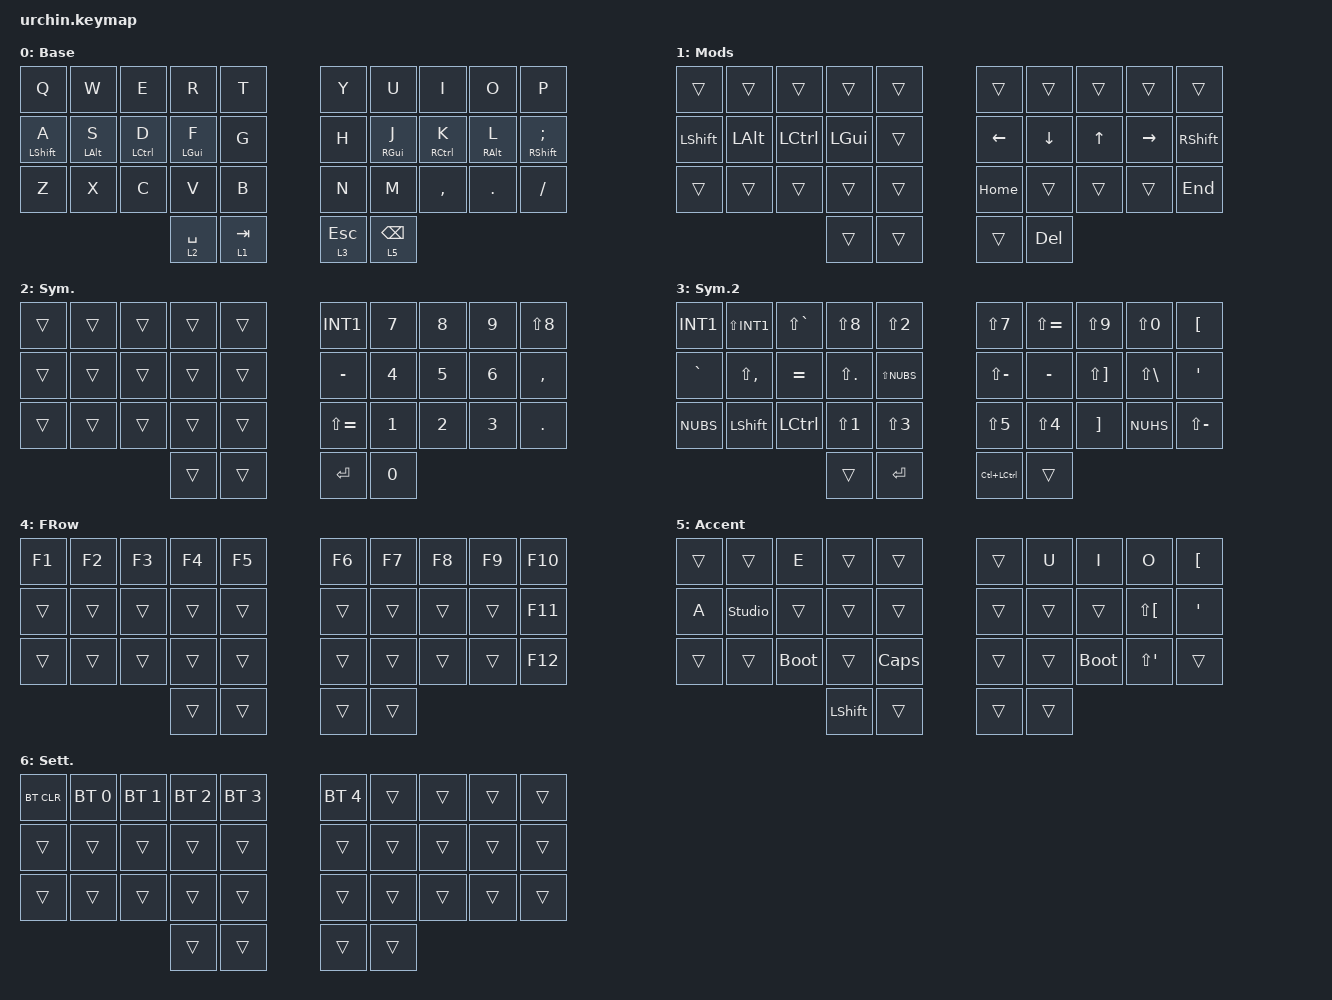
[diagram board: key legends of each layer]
#include <behaviors.dtsi>
#include <dt-bindings/zmk/keys.h>
#include <dt-bindings/zmk/bt.h>
#include <dt-bindings/zmk/outputs.h>

&mt {
    tapping-term-ms = <200>;
    require-prior-idle-ms = <60>;
    flavor = "balanced";
};

/ {
    combos {
        compatible = "zmk,combos";
        combo_enter {
            timeout-ms = <50>;
            key-positions = <27 28>;
            bindings = <&kp RET>;
            layers = <0>;
        };
    };

    keymap {
        compatible = "zmk,keymap";

        base_layer {
            display-name = "Base";
            bindings = <
&kp Q         &kp W         &kp E         &kp R         &kp T             &kp Y         &kp U         &kp I         &kp O         &kp P
&mt LSHFT A   &mt LALT S    &mt LCTRL D   &mt LGUI F    &kp G             &kp H         &mt RGUI J    &mt RCTRL K   &mt RALT L    &mt RSHFT SEMI
&kp Z         &kp X         &kp C         &kp V         &kp B             &kp N         &kp M         &kp COMMA     &kp DOT       &kp FSLH
                            &lt 2 SPACE   &lt 1 TAB         &lt 3 ESC     &lt 5 BSPC
            >;
        };

        mods_layer {
            display-name = "Mods";
            bindings = <
&trans        &trans        &trans        &trans        &trans            &trans        &trans        &trans        &trans        &trans
&kp LSHFT     &kp LALT      &kp LCTRL     &kp LGUI      &trans            &kp LEFT      &kp DOWN      &kp UP        &kp RIGHT     &kp RSHFT
&trans        &trans        &trans        &trans        &trans            &kp HOME      &trans        &trans        &trans        &kp END
                            &trans        &trans            &trans        &kp DEL
            >;
        };

        sym_layer {
            display-name = "Sym.";
            bindings = <
&trans        &trans        &trans        &trans        &trans            &kp INT1      &kp N7        &kp N8        &kp N9        &kp LS(N8)
&trans        &trans        &trans        &trans        &trans            &kp MINUS     &kp N4        &kp N5        &kp N6        &kp COMMA
&trans        &trans        &trans        &trans        &trans            &kp LS(EQUAL) &kp N1        &kp N2        &kp N3        &kp DOT
                            &trans        &trans            &kp RET       &kp N0
            >;
        };

        sym2_layer {
            display-name = "Sym.2";
            bindings = <
&kp INT1      &kp LS(INT1)  &kp LS(GRAVE) &kp LS(N8)    &kp LS(N2)        &kp LS(N7)    &kp LS(EQUAL) &kp LS(N9)    &kp LS(N0)    &kp LBKT
&kp GRAVE     &kp LS(COMMA) &kp EQUAL     &kp LS(DOT)   &kp LS(NUBS)      &kp LS(MINUS) &kp MINUS     &kp LS(RBKT)  &kp LS(BSLH)  &kp SQT
&kp NUBS      &kp LSHFT     &kp LCTRL     &kp LS(N1)    &kp LS(N3)        &kp LS(N5)    &kp LS(N4)    &kp RBKT      &kp NUHS      &kp LS(MINUS)
                            &trans        &kp RET           &kp LC(LCTRL) &trans
            >;
        };

        frow_layer {
            display-name = "FRow";
            bindings = <
&kp F1        &kp F2        &kp F3        &kp F4        &kp F5            &kp F6        &kp F7        &kp F8        &kp F9        &kp F10
&trans        &trans        &trans        &trans        &trans            &trans        &trans        &trans        &trans        &kp F11
&trans        &trans        &trans        &trans        &trans            &trans        &trans        &trans        &trans        &kp F12
                            &trans        &trans            &trans        &trans
            >;
        };

        accent_layer {
            display-name = "Accent";
            bindings = <
&trans        &trans        &kp E         &trans        &trans            &trans        &kp U         &kp I         &kp O         &kp LBKT
&kp A         &studio_unlock &trans        &trans        &trans            &trans        &trans        &trans        &kp LS(LBKT)  &kp SQT
&trans        &trans        &bootloader   &trans        &kp CAPS          &trans        &trans        &bootloader   &kp LS(SQT)   &trans
                            &kp LSHFT     &trans            &trans        &trans
            >;
        };

        sett_layer {
            display-name = "Sett.";
            bindings = <
&bt BT_CLR    &bt BT_SEL 0  &bt BT_SEL 1  &bt BT_SEL 2  &bt BT_SEL 3      &bt BT_SEL 4  &trans        &trans        &trans        &trans
&trans        &trans        &trans        &trans        &trans            &trans        &trans        &trans        &trans        &trans
&trans        &trans        &trans        &trans        &trans            &trans        &trans        &trans        &trans        &trans
                            &trans        &trans            &trans        &trans
            >;
        };
    };
};
